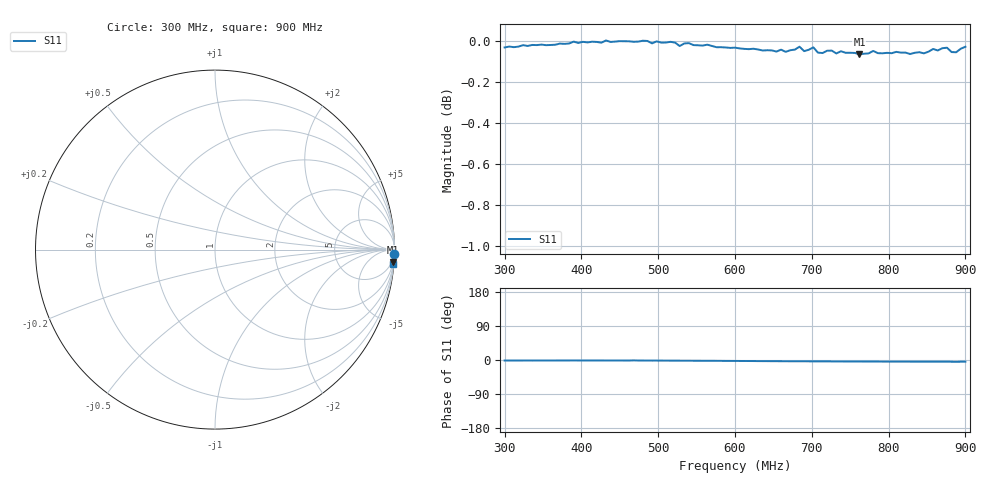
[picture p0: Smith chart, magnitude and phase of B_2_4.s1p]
# HZ S RI R 50
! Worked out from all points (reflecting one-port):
!   101 points, 300 MHz to 900 MHz, reference 50 ohm
!   lowest |S11| = -0.1 dB at 762 MHz (marker M1), VSWR 259.93, Z = 157 - j1.42e+03 ohm
!   phase of S11 starts at -1 deg and turns -3 deg over the sweep
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3e8  0.9958 -0.0246
3.78e8  0.9979 -0.0219
4.5e8  0.9994 -0.0226
4.62e8  0.9993 -0.0246
4.68e8  0.9992 -0.0171
4.74e8  0.9991 -0.0237
5.16e8  0.9989 -0.0292
5.28e8  0.9965 -0.0311
5.4e8  0.998 -0.0321
6e8  0.9951 -0.0429
6.48e8  0.993 -0.0547
6.78e8  0.9932 -0.0595
6.84e8  0.9948 -0.0597
6.9e8  0.9923 -0.0594
7.02e8  0.9941 -0.064
7.08e8  0.9912 -0.0639
7.2e8  0.9923 -0.0638
7.5e8  0.9907 -0.0697
7.62e8  0.9899 -0.069
7.8e8  0.9917 -0.0707
8.28e8  0.9897 -0.0748
8.46e8  0.9898 -0.0776
8.58e8  0.9925 -0.0747
8.7e8  0.9926 -0.0789
8.76e8  0.9929 -0.0786
8.88e8  0.99 -0.0835
8.94e8  0.9924 -0.0784
9e8  0.9935 -0.0777
